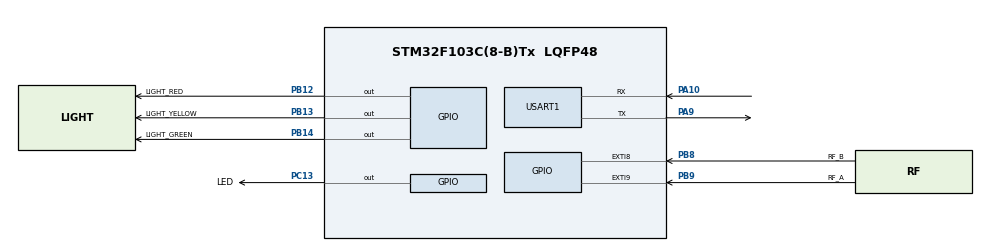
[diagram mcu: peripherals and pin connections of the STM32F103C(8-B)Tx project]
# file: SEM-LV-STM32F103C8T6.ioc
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Dma.Request0=USART1_TX
Dma.USART1_TX.0.Direction=DMA_MEMORY_TO_PERIPH
Dma.USART1_TX.0.Instance=DMA1_Channel4
Dma.USART1_TX.0.MemDataAlignment=DMA_MDATAALIGN_BYTE
Dma.USART1_TX.0.MemInc=DMA_MINC_ENABLE
Dma.USART1_TX.0.Mode=DMA_NORMAL
Dma.USART1_TX.0.PeriphDataAlignment=DMA_PDATAALIGN_BYTE
Dma.USART1_TX.0.PeriphInc=DMA_PINC_DISABLE
Dma.USART1_TX.0.Priority=DMA_PRIORITY_LOW
FREERTOS.Queues01=defaultQueue,1,uint16_t,0,Dynamic,NULL,NULL
FREERTOS.Tasks01=heartbeat,24,128,heartbeatTask,Default,NULL,Dynamic,NULL,NULL
FREERTOS.configCHECK_FOR_STACK_OVERFLOW=2
FREERTOS.configTOTAL_HEAP_SIZE=8192
FREERTOS.configUSE_NEWLIB_REENTRANT=1
Mcu.Family=STM32F1
Mcu.Name=STM32F103C(8-B)Tx
Mcu.Package=LQFP48
NVIC.DMA1_Channel4_IRQn=true\:5\:0\:false\:false\:true\:true\:false\:true\:true
NVIC.EXTI9_5_IRQn=true\:5\:0\:false\:false\:true\:true\:true\:true\:true
NVIC.PriorityGroup=NVIC_PRIORITYGROUP_4
NVIC.TIM1_UP_IRQn=true\:15\:0\:false\:false\:true\:false\:false\:true\:true
NVIC.TimeBase=TIM1_UP_IRQn
NVIC.TimeBaseIP=TIM1
NVIC.USART1_IRQn=true\:5\:0\:false\:false\:true\:true\:true\:true\:true
PA10.Mode=Asynchronous
PA10.Signal=USART1_RX
PA13.Mode=Serial_Wire
PA13.Signal=SYS_JTMS-SWDIO
PA14.Mode=Serial_Wire
PA14.Signal=SYS_JTCK-SWCLK
PA9.Mode=Asynchronous
PA9.Signal=USART1_TX
PB12.GPIO_Label=LIGHT_RED
PB12.GPIO_ModeDefaultOutputPP=GPIO_MODE_OUTPUT_OD
PB12.GPIO_PuPd=GPIO_NOPULL
PB12.GPIO_Speed=GPIO_SPEED_FREQ_LOW
PB12.PinState=GPIO_PIN_SET
PB12.Signal=GPIO_Output
PB13.GPIO_Label=LIGHT_YELLOW
PB13.GPIO_ModeDefaultOutputPP=GPIO_MODE_OUTPUT_OD
PB13.GPIO_PuPd=GPIO_NOPULL
PB13.GPIO_Speed=GPIO_SPEED_FREQ_LOW
PB13.PinState=GPIO_PIN_SET
PB13.Signal=GPIO_Output
PB14.GPIO_Label=LIGHT_GREEN
PB14.GPIO_ModeDefaultOutputPP=GPIO_MODE_OUTPUT_OD
PB14.GPIO_PuPd=GPIO_NOPULL
PB14.GPIO_Speed=GPIO_SPEED_FREQ_LOW
PB14.PinState=GPIO_PIN_SET
PB14.Signal=GPIO_Output
PB8.GPIO_Label=RF_B
PB8.Signal=GPXTI8
PB9.GPIO_Label=RF_A
PB9.Signal=GPXTI9
PC13-TAMPER-RTC.GPIO_Label=LED
PC13-TAMPER-RTC.GPIO_ModeDefaultOutputPP=GPIO_MODE_OUTPUT_OD
PC13-TAMPER-RTC.GPIO_PuPd=GPIO_NOPULL
PC13-TAMPER-RTC.PinState=GPIO_PIN_SET
PC13-TAMPER-RTC.Signal=GPIO_Output
PC14-OSC32_IN.Mode=LSE-External-Oscillator
PC14-OSC32_IN.Signal=RCC_OSC32_IN
PC15-OSC32_OUT.Mode=LSE-External-Oscillator
PC15-OSC32_OUT.Signal=RCC_OSC32_OUT
PD0-OSC_IN.Mode=HSE-External-Oscillator
PD0-OSC_IN.Signal=RCC_OSC_IN
PD1-OSC_OUT.Mode=HSE-External-Oscillator
PD1-OSC_OUT.Signal=RCC_OSC_OUT
ProjectManager.HeapSize=0x200
ProjectManager.StackSize=0x400
ProjectManager.TargetToolchain=STM32CubeIDE
RCC.APB1Freq_Value=8000000
RCC.APB2Freq_Value=8000000
USART1.VirtualMode=VM_ASYNC
VP_FREERTOS_VS_CMSIS_V2.Mode=CMSIS_V2
VP_SYS_VS_tim1.Mode=TIM1
board=custom

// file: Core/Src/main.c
/* USER CODE BEGIN Header */
/**
  ******************************************************************************
  * @file           : main.c
  * @brief          : Main program body
  ******************************************************************************
  * @attention
  *
  * Copyright (c) 2023 STMicroelectronics.
  * All rights reserved.
  *
  * This software is licensed under terms that can be found in the LICENSE file
  * in the root directory of this software component.
  * If no LICENSE file comes with this software, it is provided AS-IS.
  *
  ******************************************************************************
  */
/* USER CODE END Header */
#include "main.h"
#include "cmsis_os.h"

/* USER CODE BEGIN Includes */

#include "string.h"

/* USER CODE END Includes */

/* USER CODE BEGIN PM */
#define HEARTBEAT_TIME  250

#define TIME_DEFAULT_STEP_1   6000
#define TIME_DEFAULT_STEP_2   1000
#define TIME_DEFAULT_STEP_3   3000
#define TIME_DEFAULT_STEP_4   2000
#define TIME_SEQUENCE_ALERT   500
#define TIME_STARTUP_TEST     500
#define TIME_STATUS           5000

#define TIME_REQUEST_MIN      1000
#define FLAG_REQUEST          0x0000001

typedef enum sequences {
  SEQUENCE_STARTUP,
  SEQUENCE_ALERT,
  SEQUENCE_NORMAL,
  SEQUENCE_QTY
} sequences_t;

const char *sequences_names[SEQUENCE_QTY] = {
  "STARTUP",
  "ALERT",
  "NORMAL",
};

typedef enum color {
  COLOR_BLACK,
  COLOR_RED,
  COLOR_RED_YELLOW,
  COLOR_YELLOW,
  COLOR_GREEN,
  COLOR_QTY
} color_t;

const char *color_names[COLOR_QTY] = {
  "BLACK",
  "RED",
  "RED_YELLOW",
  "YELLOW",
  "GREEN",
};

typedef enum request {
  REQUEST_NONE,
  REQUEST_SEQUENCE_CHANGE,
  REQUEST_QTY
} request_t;

typedef struct {
  sequences_t sequence;
  color_t color;
  request_t request;
} status_t;

status_t semaphore_status = {
  .sequence = SEQUENCE_STARTUP,
  .color = COLOR_RED,
  .request = REQUEST_NONE,
};

/* USER CODE END PM */

UART_HandleTypeDef huart1;
DMA_HandleTypeDef hdma_usart1_tx;

/* Definitions for heartbeat */
osThreadId_t heartbeatHandle;
const osThreadAttr_t heartbeat_attributes = {
  .name = "heartbeat",
  .stack_size = 128 * 4,
  .priority = (osPriority_t) osPriorityNormal,
};
/* Definitions for defaultQueue */
osMessageQueueId_t defaultQueueHandle;
const osMessageQueueAttr_t defaultQueue_attributes = {
  .name = "defaultQueue"
};
/* USER CODE BEGIN PV */

osThreadId_t semaphoreHandle;
const osThreadAttr_t semaphore_attributes = {
  .name = "semaphore",
  .stack_size = 128 * 4,
  .priority = (osPriority_t) osPriorityNormal,
};

osThreadId_t statusHandle;
const osThreadAttr_t status_attributes = {
  .name = "status",
  .stack_size = 128 * 4,
  .priority = (osPriority_t) osPriorityNormal,
};

osThreadId_t requestHandle;
const osThreadAttr_t request_attributes = {
  .name = "request",
  .stack_size = 128 * 4,
  .priority = (osPriority_t) osPriorityNormal,
};

osMessageQueueId_t statusQueueHandle;
const osMessageQueueAttr_t statusQueue_attributes = {
  .name = "statusQueue"
};

/* USER CODE END PV */

void SystemClock_Config(void);
static void MX_GPIO_Init(void);
static void MX_DMA_Init(void);
static void MX_USART1_UART_Init(void);
void heartbeatTask(void *argument);

/* USER CODE BEGIN PFP */

void semaphoreTask(void *argument);

void statusTask(void *argument);

void requestTask(void *argument);

/* USER CODE END PFP */

int main(void)
{

  /* MCU Configuration--------------------------------------------------------*/

  /* Reset of all peripherals, Initializes the Flash interface and the Systick. */
  HAL_Init();

  /* Configure the system clock */
  SystemClock_Config();

  /* Initialize all configured peripherals */
  MX_GPIO_Init();
  MX_DMA_Init();
  MX_USART1_UART_Init();

  /* Init scheduler */
  osKernelInitialize();

  /* Create the queue(s) */
  /* creation of defaultQueue */
  defaultQueueHandle = osMessageQueueNew (1, sizeof(uint16_t), &defaultQueue_attributes);

  /* USER CODE BEGIN RTOS_QUEUES */

  statusQueueHandle = osMessageQueueNew (4, sizeof(status_t), &statusQueue_attributes);

  /* USER CODE END RTOS_QUEUES */

  /* Create the thread(s) */
  /* creation of heartbeat */
  heartbeatHandle = osThreadNew(heartbeatTask, NULL, &heartbeat_attributes);

  /* USER CODE BEGIN RTOS_THREADS */

  semaphoreHandle = osThreadNew(semaphoreTask, NULL, &semaphore_attributes);

  statusHandle = osThreadNew(statusTask, NULL, &status_attributes);

  requestHandle = osThreadNew(requestTask, NULL, &request_attributes);

  /* USER CODE END RTOS_THREADS */

  /* Start scheduler */
  osKernelStart();

  /* We should never get here as control is now taken by the scheduler */
  /* Infinite loop */
  while (1)
  {

  }
}

void SystemClock_Config(void)
{
  RCC_OscInitTypeDef RCC_OscInitStruct = {0};
  RCC_ClkInitTypeDef RCC_ClkInitStruct = {0};

  /** Initializes the RCC Oscillators according to the specified parameters
  * in the RCC_OscInitTypeDef structure.
  */
  RCC_OscInitStruct.OscillatorType = RCC_OSCILLATORTYPE_HSI;
  RCC_OscInitStruct.HSIState = RCC_HSI_ON;
  RCC_OscInitStruct.HSICalibrationValue = RCC_HSICALIBRATION_DEFAULT;
  RCC_OscInitStruct.PLL.PLLState = RCC_PLL_NONE;
  if (HAL_RCC_OscConfig(&RCC_OscInitStruct) != HAL_OK)
  {
    Error_Handler();
  }

  /** Initializes the CPU, AHB and APB buses clocks
  */
  RCC_ClkInitStruct.ClockType = RCC_CLOCKTYPE_HCLK|RCC_CLOCKTYPE_SYSCLK
                              |RCC_CLOCKTYPE_PCLK1|RCC_CLOCKTYPE_PCLK2;
  RCC_ClkInitStruct.SYSCLKSource = RCC_SYSCLKSOURCE_HSI;
  RCC_ClkInitStruct.AHBCLKDivider = RCC_SYSCLK_DIV1;
  RCC_ClkInitStruct.APB1CLKDivider = RCC_HCLK_DIV1;
  RCC_ClkInitStruct.APB2CLKDivider = RCC_HCLK_DIV1;

  if (HAL_RCC_ClockConfig(&RCC_ClkInitStruct, FLASH_LATENCY_0) != HAL_OK)
  {
    Error_Handler();
  }
}

static void MX_USART1_UART_Init(void)
{

  huart1.Instance = USART1;
  huart1.Init.BaudRate = 115200;
  huart1.Init.WordLength = UART_WORDLENGTH_8B;
  huart1.Init.StopBits = UART_STOPBITS_1;
  huart1.Init.Parity = UART_PARITY_NONE;
  huart1.Init.Mode = UART_MODE_TX_RX;
  huart1.Init.HwFlowCtl = UART_HWCONTROL_NONE;
  huart1.Init.OverSampling = UART_OVERSAMPLING_16;
  if (HAL_UART_Init(&huart1) != HAL_OK)
  {
    Error_Handler();
  }

}

static void MX_DMA_Init(void)
{

  /* DMA controller clock enable */
  __HAL_RCC_DMA1_CLK_ENABLE();

  /* DMA interrupt init */
  /* DMA1_Channel4_IRQn interrupt configuration */
  HAL_NVIC_SetPriority(DMA1_Channel4_IRQn, 5, 0);
  HAL_NVIC_EnableIRQ(DMA1_Channel4_IRQn);

}

static void MX_GPIO_Init(void)
{
  GPIO_InitTypeDef GPIO_InitStruct = {0};

  /* GPIO Ports Clock Enable */
  __HAL_RCC_GPIOC_CLK_ENABLE();
  __HAL_RCC_GPIOD_CLK_ENABLE();
  __HAL_RCC_GPIOB_CLK_ENABLE();
  __HAL_RCC_GPIOA_CLK_ENABLE();

  /*Configure GPIO pin Output Level */
  HAL_GPIO_WritePin(LED_GPIO_Port, LED_Pin, GPIO_PIN_SET);

  /*Configure GPIO pin Output Level */
  HAL_GPIO_WritePin(GPIOB, LIGHT_RED_Pin|LIGHT_YELLOW_Pin|LIGHT_GREEN_Pin, GPIO_PIN_SET);

  /*Configure GPIO pin : LED_Pin */
  GPIO_InitStruct.Pin = LED_Pin;
  GPIO_InitStruct.Mode = GPIO_MODE_OUTPUT_OD;
  GPIO_InitStruct.Pull = GPIO_NOPULL;
  GPIO_InitStruct.Speed = GPIO_SPEED_FREQ_LOW;
  HAL_GPIO_Init(LED_GPIO_Port, &GPIO_InitStruct);

  /*Configure GPIO pins : LIGHT_RED_Pin LIGHT_YELLOW_Pin LIGHT_GREEN_Pin */
  GPIO_InitStruct.Pin = LIGHT_RED_Pin|LIGHT_YELLOW_Pin|LIGHT_GREEN_Pin;
  GPIO_InitStruct.Mode = GPIO_MODE_OUTPUT_OD;
  GPIO_InitStruct.Pull = GPIO_NOPULL;
  GPIO_InitStruct.Speed = GPIO_SPEED_FREQ_LOW;
  HAL_GPIO_Init(GPIOB, &GPIO_InitStruct);

  /*Configure GPIO pins : RF_B_Pin RF_A_Pin */
  GPIO_InitStruct.Pin = RF_B_Pin|RF_A_Pin;
  GPIO_InitStruct.Mode = GPIO_MODE_IT_RISING;
  GPIO_InitStruct.Pull = GPIO_NOPULL;
  HAL_GPIO_Init(GPIOB, &GPIO_InitStruct);

  /* EXTI interrupt init*/
  HAL_NVIC_SetPriority(EXTI9_5_IRQn, 5, 0);
  HAL_NVIC_EnableIRQ(EXTI9_5_IRQn);

}

/* USER CODE BEGIN 4 */

void semaphoreTask(void *argument)
{
  while(1)
  {
    switch (semaphore_status.sequence)
    {
    case SEQUENCE_STARTUP:
      /* Startup sequence */
      HAL_GPIO_WritePin(LIGHT_RED_GPIO_Port, LIGHT_RED_Pin, GPIO_PIN_RESET);
      HAL_GPIO_WritePin(LIGHT_YELLOW_GPIO_Port, LIGHT_YELLOW_Pin, GPIO_PIN_SET);
      HAL_GPIO_WritePin(LIGHT_GREEN_GPIO_Port, LIGHT_GREEN_Pin, GPIO_PIN_SET);
      semaphore_status.color = COLOR_RED;
      osMessageQueuePut(statusQueueHandle, &semaphore_status.sequence, 0, 0);
      osDelay(TIME_STARTUP_TEST);

      HAL_GPIO_WritePin(LIGHT_RED_GPIO_Port, LIGHT_RED_Pin, GPIO_PIN_SET);
      HAL_GPIO_WritePin(LIGHT_YELLOW_GPIO_Port, LIGHT_YELLOW_Pin, GPIO_PIN_RESET);
      HAL_GPIO_WritePin(LIGHT_GREEN_GPIO_Port, LIGHT_GREEN_Pin, GPIO_PIN_SET);
      semaphore_status.color = COLOR_YELLOW;
      osMessageQueuePut(statusQueueHandle, &semaphore_status.sequence, 0, 0);
      osDelay(TIME_STARTUP_TEST);

      HAL_GPIO_WritePin(LIGHT_RED_GPIO_Port, LIGHT_RED_Pin, GPIO_PIN_SET);
      HAL_GPIO_WritePin(LIGHT_YELLOW_GPIO_Port, LIGHT_YELLOW_Pin, GPIO_PIN_SET);
      HAL_GPIO_WritePin(LIGHT_GREEN_GPIO_Port, LIGHT_GREEN_Pin, GPIO_PIN_RESET);
      semaphore_status.color = COLOR_GREEN;
      osMessageQueuePut(statusQueueHandle, &semaphore_status.sequence, 0, 0);
      osDelay(TIME_STARTUP_TEST);

      semaphore_status.sequence = SEQUENCE_ALERT;
      osMessageQueuePut(statusQueueHandle, &semaphore_status.sequence, 0, 0);
      break;

    case SEQUENCE_ALERT:
      HAL_GPIO_WritePin(LIGHT_YELLOW_GPIO_Port, LIGHT_YELLOW_Pin, GPIO_PIN_SET);
      HAL_GPIO_WritePin(LIGHT_GREEN_GPIO_Port, LIGHT_GREEN_Pin, GPIO_PIN_SET);

      if (COLOR_RED == semaphore_status.color)
      {
        HAL_GPIO_WritePin(LIGHT_RED_GPIO_Port, LIGHT_RED_Pin, GPIO_PIN_SET);
        semaphore_status.color = COLOR_BLACK;
      }
      else
      {
        HAL_GPIO_WritePin(LIGHT_RED_GPIO_Port, LIGHT_RED_Pin, GPIO_PIN_RESET);
        semaphore_status.color = COLOR_RED;
      }

      osMessageQueuePut(statusQueueHandle, &semaphore_status.sequence, 0, 0);
      osDelay(TIME_SEQUENCE_ALERT);
      break;

    case SEQUENCE_NORMAL:
      /* Step 1 */
      HAL_GPIO_WritePin(LIGHT_RED_GPIO_Port, LIGHT_RED_Pin, GPIO_PIN_RESET);
      HAL_GPIO_WritePin(LIGHT_YELLOW_GPIO_Port, LIGHT_YELLOW_Pin, GPIO_PIN_SET);
      HAL_GPIO_WritePin(LIGHT_GREEN_GPIO_Port, LIGHT_GREEN_Pin, GPIO_PIN_SET);
      semaphore_status.color = COLOR_RED;
      osMessageQueuePut(statusQueueHandle, &semaphore_status.sequence, 0, 0);
      osDelay(TIME_DEFAULT_STEP_1);

      /* Step 2 */
      HAL_GPIO_WritePin(LIGHT_RED_GPIO_Port, LIGHT_RED_Pin, GPIO_PIN_RESET);
      HAL_GPIO_WritePin(LIGHT_YELLOW_GPIO_Port, LIGHT_YELLOW_Pin, GPIO_PIN_RESET);
      HAL_GPIO_WritePin(LIGHT_GREEN_GPIO_Port, LIGHT_GREEN_Pin, GPIO_PIN_SET);
      semaphore_status.color = COLOR_RED_YELLOW;
      osMessageQueuePut(statusQueueHandle, &semaphore_status.sequence, 0, 0);
      osDelay(TIME_DEFAULT_STEP_2);

      /* Step 3 */
      HAL_GPIO_WritePin(LIGHT_RED_GPIO_Port, LIGHT_RED_Pin, GPIO_PIN_SET);
      HAL_GPIO_WritePin(LIGHT_YELLOW_GPIO_Port, LIGHT_YELLOW_Pin, GPIO_PIN_SET);
      HAL_GPIO_WritePin(LIGHT_GREEN_GPIO_Port, LIGHT_GREEN_Pin, GPIO_PIN_RESET);
      semaphore_status.color = COLOR_GREEN;
      osMessageQueuePut(statusQueueHandle, &semaphore_status.sequence, 0, 0);
      osDelay(TIME_DEFAULT_STEP_3);

      /* Step 4 */
      HAL_GPIO_WritePin(LIGHT_RED_GPIO_Port, LIGHT_RED_Pin, GPIO_PIN_SET);
      HAL_GPIO_WritePin(LIGHT_YELLOW_GPIO_Port, LIGHT_YELLOW_Pin, GPIO_PIN_RESET);
      HAL_GPIO_WritePin(LIGHT_GREEN_GPIO_Port, LIGHT_GREEN_Pin, GPIO_PIN_SET);
      semaphore_status.color = COLOR_YELLOW;
      osMessageQueuePut(statusQueueHandle, &semaphore_status.sequence, 0, 0);
      osDelay(TIME_DEFAULT_STEP_4);
      break;

    default:
      osDelay(TIME_SEQUENCE_ALERT);
      break;
    }
  }
}

void statusTask(void *argument)
{
    status_t status_actual;
    /* Infinite loop */
    for (;;)
    {
        osStatus_t osStatus = osMessageQueueGet(statusQueueHandle, &status_actual, NULL, TIME_STATUS);

        if (osStatus < osOK) {
          HAL_UART_Transmit(&huart1,
                  (uint8_t *)(" OK: "),
                  sizeof(" OK: ") - 1,
                  100);
        }

        HAL_UART_Transmit(&huart1,
                          (uint8_t *)(sequences_names[status_actual.sequence]),
                          strlen(sequences_names[status_actual.sequence]),
                          100);

        HAL_UART_Transmit(&huart1,
                          (uint8_t *)(" - "),
                          sizeof(" - ") - 1,
                          100);

        HAL_UART_Transmit(&huart1,
                          (uint8_t *)(color_names[status_actual.color]),
                          strlen(color_names[status_actual.color]),
                          100);

        HAL_UART_Transmit(&huart1,
                          (uint8_t *)("\n"),
                          sizeof("\n") - 1,
                          100);
    }
}

void requestTask(void *argument)
{
    int32_t EventsFlags = osError;
    const uint32_t WaitingEventsFlags = 0x00000001U; /* Only 1 flag may unblock this task */
    const TickType_t xMaxBlockTime = pdMS_TO_TICKS(5000);

    /* Infinite loop */
    for (;;)
    {
        EventsFlags = osThreadFlagsWait(WaitingEventsFlags, osFlagsWaitAny, xMaxBlockTime);

        if (EventsFlags >= osOK)
        {
            /* A notification was received.  See which bits were set. */
            if ((EventsFlags & FLAG_REQUEST) != 0)
            {
                osThreadTerminate(semaphoreHandle);
                semaphoreHandle = osThreadNew(semaphoreTask, NULL, &semaphore_attributes);
                semaphore_status.sequence = (SEQUENCE_ALERT == semaphore_status.sequence) ? SEQUENCE_NORMAL : SEQUENCE_ALERT;
                osMessageQueuePut(statusQueueHandle, &semaphore_status.sequence, 0, 0);
            }
        }
        else
        {
            /* Did not receive a notification within the expected time. */
            //prvCheckForErrors();
        }

        osDelay(TIME_REQUEST_MIN);
    }
}

void HAL_GPIO_EXTI_Callback(uint16_t GPIO_Pin)
{
  osThreadFlagsSet(requestHandle, FLAG_REQUEST);
}

/* USER CODE END 4 */

void heartbeatTask(void *argument)
{
  /* USER CODE BEGIN 5 */
  /* Infinite loop */
  for(;;)
  {
    HAL_GPIO_TogglePin(LED_GPIO_Port, LED_Pin);
    osDelay(HEARTBEAT_TIME);
  }
  /* USER CODE END 5 */
}

void HAL_TIM_PeriodElapsedCallback(TIM_HandleTypeDef *htim)
{
  if (htim->Instance == TIM1) {
    HAL_IncTick();
  }
}

void Error_Handler(void)
{
  __disable_irq();
  while (1)
  {
  }
}
